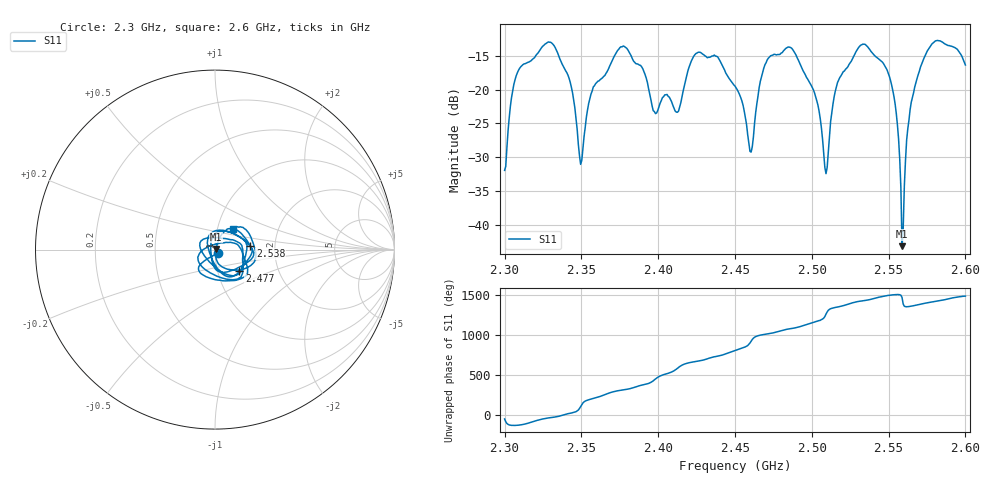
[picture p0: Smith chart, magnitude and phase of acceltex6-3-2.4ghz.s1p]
! NanoVNA-App
! Date: 2026-05-15 12:11:46
! Start: 2.3GHz Stop: 2.6GHz Points: 401
! S-Parameter data: F S11
# Hz S RI R 50
!  Frequency  S11_Real  S11_Imag
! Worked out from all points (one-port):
!   401 points, 2.3 GHz to 2.6 GHz, reference 50 ohm
!   lowest |S11| = -43.2 dB at 2.559 GHz (marker M1), VSWR 1.01, Z = 50.6 + j0.383 ohm
!   |S11| at or under -10 dB: start of sweep to end of sweep
!   S11 on the Smith chart (normalised r, x): 2.3 GHz: 1.03, -0.04; 2.477 GHz: 1.27, -0.31; 2.538 GHz: 1.49, +0.06; 2.6 GHz: 1.18, +0.28
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2.3e9  0.0149 -0.0203
2.30525e9  -0.0683 -0.0705
2.30975e9  -0.0918 -0.1108
2.3285e9  0.172 -0.1463
2.3375e9  0.1533 -0.0185
2.3435e9  0.0967 0.038
2.3495e9  -0.00606 0.0273
2.357e9  -0.0917 -0.0335
2.375e9  0.1199 -0.1656
2.3975e9  0.0139 0.0674
2.4125e9  -0.05 -0.046
2.426e9  0.1311 -0.1364
2.45e9  0.00582 0.1061
2.4605e9  -0.0315 -0.0139
2.468e9  0.0355 -0.1304
2.477e9  0.1352 -0.12
2.4875e9  0.198 0.018
2.5025e9  0.0011 0.0888
2.50925e9  -0.0238 -0.0017
2.516e9  -0.000217 -0.1049
2.525e9  0.116 -0.1079
2.53775e9  0.197 0.0207
2.552e9  0.0482 0.0966
2.55575e9  0.0191 0.0514
2.55875e9  0.0058 0.00378
2.5625e9  0.00656 -0.0508
2.57825e9  0.1998 -0.0881
2.6e9  0.098 0.1166
